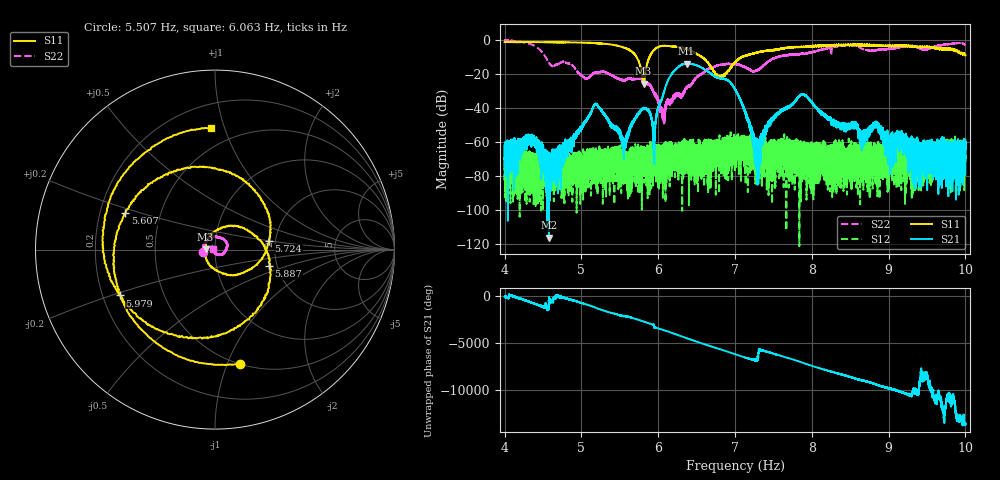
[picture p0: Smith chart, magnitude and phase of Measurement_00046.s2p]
!Created with skrf (http://scikit-rf.org).
# Hz S RI R 50.0
!freq ReS11 ImS11 ReS21 ImS21 ReS12 ImS12 ReS22 ImS22
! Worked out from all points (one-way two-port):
!   14001 points, 4 Hz to 10 Hz, reference 50 ohm
!   highest |S21| = -13.74 dB at 6.369 Hz (marker M1); lowest = -116.1 dB at 4.577 Hz (marker M2)
!   lowest |S11| = -25.6 dB at 5.809 Hz (marker M3), VSWR 1.11, Z = 45 + j0.185 ohm
!   |S11| at or under -10 dB: 5.72 Hz to 5.886 Hz (165.9 mHz wide, 2.86 % of centre); 6.569 Hz to 7.081 Hz (512.6 mHz wide, 7.51 % of centre); 7.082335 Hz to 7.084139 Hz (1.804 mHz wide, 0.0255 % of centre) (the widest 3 of 7)
!   |S22| runs from -49.4 to -0.2 dB; largest |S21 - S12| = 0.21
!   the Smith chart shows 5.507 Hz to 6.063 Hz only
!   S11 on the Smith chart (normalised r, x): 5.507 Hz: 0.50, -1.11; 5.607 Hz: 0.31, +0.18; 5.724 Hz: 1.85, +0.21; 5.887 Hz: 1.81, -0.37; 5.979 Hz: 0.27, -0.21; 6.063 Hz: 0.36, +0.90
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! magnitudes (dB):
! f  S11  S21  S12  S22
! 4 Hz  -1.1  -61.8  -82.8  -0.2
! 4.357 Hz  -1.1  -57.6  -71.4  -2.6
! 4.577 Hz  -1.2  -116.1  -72.6  -13.3
! 5 Hz  -1.5  -51.3  -70.3  -20.8
! 5.191 Hz  -1.8  -37.3  -69.9  -18.9
! 5.507 Hz  -3.7  -54.5  -76.6  -23.3
! 5.607 Hz  -5.4  -56.2  -74.8  -22.8
! 5.724 Hz  -10.3  -44.5  -67.6  -22.4
! 5.809 Hz  -25.6  -40.1  -70.1  -23.7
! 5.887 Hz  -10.0  -42.5  -69.5  -26.1
! 5.938 Hz  -6.2  -57.0  -60.9  -30.8
! 5.979 Hz  -4.6  -44.0  -68.2  -32.5
! 6 Hz  -4.0  -39.6  -74.1  -34.7
! 6.063 Hz  -3.4  -32.3  -69.7  -40.6
! 6.369 Hz  -5.2  -13.7  -64.1  -27.5
! 6.787 Hz  -21.5  -22.3  -64.7  -14.6
! 7 Hz  -13.0  -28.7  -60.2  -14.1
! 7.292 Hz  -7.2  -64.1  -68.9  -17.7
! 7.538 Hz  -5.6  -44.3  -66.4  -10.1
! 8 Hz  -3.7  -36.1  -69.3  -6.9
! 9 Hz  -3.4  -58.4  -88.4  -5.1
! 10 Hz  -8.7  -58.5  -66.1  -3.1
